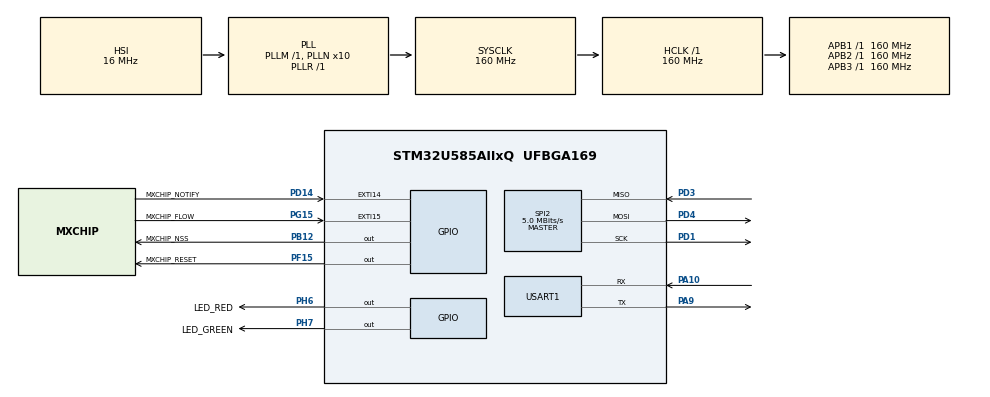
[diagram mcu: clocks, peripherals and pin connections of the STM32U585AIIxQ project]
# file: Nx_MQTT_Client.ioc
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CORTEX_M33_NS.userName=CORTEX_M33
Mcu.Family=STM32U5
Mcu.Name=STM32U585AIIxQ
Mcu.Package=UFBGA169
NETXDUO.NXD_MQTT_REQUIRE_TLS=true
NETXDUO.NX_APP_MEM_POOL_SIZE=100 * 1024
NETXDUO.NX_DHCP_CLIENT_RESTORE_STATE=true
NETXDUO.NX_DRIVER_DEFERRED_PROCESSING=true
NETXDUO.NX_IP_PERIODIC_RATE=1000
NETXDUO.NX_PHYSICAL_HEADER=44
NETXDUO.NX_SECURE_DTLS_MAXIMUM_RETRANSMIT_TIMEOUT=60000
NETXDUO.NX_SECURE_DTLS_RETRANSMIT_TIMEOUT=1000
NETXDUO.NX_SECURE_ENABLE=true
NETXDUO.NX_SECURE_ENABLE_ECC_CIPHERSUITE=true
NETXDUO.NX_SNTP_CLIENT_MAX_ROOT_DISPERSION=500000
NETXDUO.NX_SNTP_CLIENT_MIN_SERVER_STRATUM=5
NVIC.EXTI14_IRQn=true\:5\:0\:true\:false\:true\:false\:false\:true\:true
NVIC.EXTI15_IRQn=true\:5\:0\:true\:false\:true\:false\:false\:true\:true
NVIC.PriorityGroup=NVIC_PRIORITYGROUP_4
NVIC.TIM6_IRQn=true\:15\:0\:true\:false\:true\:false\:false\:true\:true
NVIC.TimeBase=TIM6_IRQn
NVIC.TimeBaseIP=TIM6
NVIC.USART1_IRQn=true\:5\:0\:true\:false\:true\:false\:false\:true\:true
PA10.Mode=Asynchronous
PA10.Signal=USART1_RX
PA9.Mode=Asynchronous
PA9.Signal=USART1_TX
PB12.GPIO_Label=MXCHIP_NSS
PB12.GPIO_Speed=GPIO_SPEED_FREQ_HIGH
PB12.PinState=GPIO_PIN_SET
PB12.Signal=GPIO_Output
PD1.GPIO_Mode=GPIO_MODE_AF_PP
PD1.GPIO_PuPd=GPIO_NOPULL
PD1.GPIO_Speed=GPIO_SPEED_FREQ_LOW
PD1.Mode=Full_Duplex_Master
PD1.Signal=SPI2_SCK
PD14.GPIO_Label=MXCHIP_NOTIFY
PD14.Signal=GPXTI14
PD3.GPIO_Mode=GPIO_MODE_AF_PP
PD3.GPIO_PuPd=GPIO_NOPULL
PD3.GPIO_Speed=GPIO_SPEED_FREQ_LOW
PD3.Mode=Full_Duplex_Master
PD3.Signal=SPI2_MISO
PD4.GPIO_Mode=GPIO_MODE_AF_PP
PD4.GPIO_PuPd=GPIO_NOPULL
PD4.GPIO_Speed=GPIO_SPEED_FREQ_LOW
PD4.Mode=Full_Duplex_Master
PD4.Signal=SPI2_MOSI
PF15.GPIO_Label=MXCHIP_RESET
PF15.GPIO_Speed=GPIO_SPEED_FREQ_HIGH
PF15.Signal=GPIO_Output
PG15.GPIO_Label=MXCHIP_FLOW
PG15.Signal=GPXTI15
PH6.GPIO_Label=LED_RED
PH6.GPIO_Speed=GPIO_SPEED_FREQ_HIGH
PH6.PinState=GPIO_PIN_SET
PH6.Signal=GPIO_Output
PH7.GPIO_Label=LED_GREEN
PH7.GPIO_Speed=GPIO_SPEED_FREQ_HIGH
PH7.PinState=GPIO_PIN_SET
PH7.Signal=GPIO_Output
PWR.PowerMode=PWR_SMPS_SUPPLY
ProjectManager.HeapSize=0x200
ProjectManager.StackSize=0x400
ProjectManager.TargetToolchain=STM32CubeIDE
RCC.ADCFreq_Value=16000000
RCC.AHBFreq_Value=160000000
RCC.APB1Freq_Value=160000000
RCC.APB1TimFreq_Value=160000000
RCC.APB2Freq_Value=160000000
RCC.APB2TimFreq_Value=160000000
RCC.APB3Freq_Value=160000000
RCC.CortexFreq_Value=160000000
RCC.DACCLockSelectionVirtual=RCC_DAC1CLKSOURCE_LSI
RCC.EPOD_VALUE=16000000
RCC.HCLKFreq_Value=160000000
RCC.HSE_VALUE=16000000
RCC.HSI48_VALUE=48000000
RCC.HSI_VALUE=16000000
RCC.LSE_VALUE=32768
RCC.LSIDIV_VALUE=32000
RCC.MSIClockRange=RCC_MSIRANGE_0
RCC.MSI_VALUE=48000000
RCC.PLL1R=1
RCC.PLLN=10
RCC.PLLSourceVirtual=RCC_PLLSOURCE_HSI
RCC.SPI2CLockSelection=RCC_SPI2CLKSOURCE_PCLK1
RCC.SYSCLKFreq_VALUE=160000000
RCC.SYSCLKSource=RCC_SYSCLKSOURCE_PLLCLK
RCC.USBFreq_Value=48000000
RCC.VCOOutputFreq_Value=160000000
SPI2.BaudRatePrescaler=SPI_BAUDRATEPRESCALER_32
SPI2.CalculateBaudRate=5.0 MBits/s
SPI2.DataSize=SPI_DATASIZE_8BIT
SPI2.Direction=SPI_DIRECTION_2LINES
SPI2.Mode=SPI_MODE_MASTER
SPI2.NSSPMode=SPI_NSS_PULSE_DISABLE
SPI2.VirtualType=VM_MASTER
THREADX.AZRTOS_APP_MEM_ALLOCATION_METHOD=1
THREADX.TX_APP_MEM_POOL_SIZE=1024
THREADX.TX_MINIMUM_STACK=400
THREADX.TX_TIMER_TICKS_PER_SECOND=1000
USART1.VirtualMode-Asynchronous=VM_ASYNC
VP_ICACHE_VS_ICACHE.Mode=DirectMappedCache
VP_LPBAMQUEUE_VS_QUEUE.Mode=QUEUEMODE
VP_LPBAM_VS_SIG1.Mode=SmartRun
VP_LPBAM_VS_SIG4.Mode=LPDMA1
VP_NETXDUO_VS_AddonsOoDHCP.Mode=Addons_DHCP_Client
VP_NETXDUO_VS_AddonsOoDNS.Mode=Addons_DNS
VP_NETXDUO_VS_AddonsOoMQTT.Mode=Addons_MQTT
VP_NETXDUO_VS_AddonsOoSNTP.Mode=Addons_SNTP
VP_NETXDUO_VS_Crypto.Mode=Crypto
VP_NETXDUO_VS_NXOoCore.Mode=NX_Core
VP_NETXDUO_VS_TLS.Mode=TLS
VP_PWR_VS_DBSignals.Mode=DisableDeadBatterySignals
VP_PWR_VS_LPOM.Mode=PowerOptimisation
VP_PWR_VS_SECSignals.Mode=Security/Privilege
VP_RNG_VS_RNG.Mode=RNG_Activate
VP_SYS_VS_tim6.Mode=TIM6
VP_THREADX_VS_RTOSJjThreadXJjCoreJjDefault.Mode=Core_Default
board=custom

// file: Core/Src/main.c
/* USER CODE BEGIN Header */
/**
  ******************************************************************************
  * @file           : main.c
  * @brief          : Main program body
  ******************************************************************************
  * @attention
  *
  * Copyright (c) 2021 STMicroelectronics.
  * All rights reserved.
  *
  * This software is licensed under terms that can be found in the LICENSE file
  * in the root directory of this software component.
  * If no LICENSE file comes with this software, it is provided AS-IS.
  *
  ******************************************************************************
  */
/* USER CODE END Header */
#include "app_threadx.h"
#include "main.h"

/* USER CODE BEGIN Includes */
#include "mx_wifi_conf.h"

#if defined(__ICCARM__)
#include <LowLevelIOInterface.h>
#endif /* __ICCARM__ */
/* USER CODE END Includes */

/* USER CODE BEGIN PTD */
#if defined(__ICCARM__)
/* New definition from EWARM V9, compatible with EWARM8 */
int iar_fputc(int ch);
#define PUTCHAR_PROTOTYPE int iar_fputc(int ch)
#elif defined ( __GNUC__) && !defined(__clang__)
/* With GCC, small printf (option LD Linker->Libraries->Small printf
   set to 'Yes') calls __io_putchar() */
#define PUTCHAR_PROTOTYPE int __io_putchar(int ch)
#else
#define PUTCHAR_PROTOTYPE int fputc(int ch, FILE *f)
#endif /* __ICCARM__ */
/* USER CODE END PTD */

RNG_HandleTypeDef hrng;

SPI_HandleTypeDef hspi2;

UART_HandleTypeDef huart1;

void SystemClock_Config(void);
static void SystemPower_Config(void);
static void MX_GPIO_Init(void);
static void MX_ICACHE_Init(void);
static void MX_SPI2_Init(void);
static void MX_USART1_UART_Init(void);
static void MX_RNG_Init(void);

/* USER CODE BEGIN 0 */
void HAL_GPIO_EXTI_Rising_Callback(uint16_t GPIO_Pin)
{
  switch (GPIO_Pin)
  {
    case (GPIO_PIN_1):

      break;
#if MX_WIFI_USE_SPI == 1
    case (MXCHIP_FLOW_Pin):
      mxchip_WIFI_ISR(MXCHIP_FLOW_Pin);
      nx_driver_emw3080_interrupt();
      break;

    case (MXCHIP_NOTIFY_Pin):
      mxchip_WIFI_ISR(MXCHIP_NOTIFY_Pin);
      nx_driver_emw3080_interrupt();
      break;
#endif /* MX_WIFI_USE_SPI */

    default:
      break;
  }
}

void Success_Handler(void)
{
   HAL_GPIO_WritePin(LED_RED_GPIO_Port, LED_RED_Pin, GPIO_PIN_SET);
   while(1)
   {
     HAL_GPIO_TogglePin(LED_GREEN_GPIO_Port, LED_GREEN_Pin);
     tx_thread_sleep(50);
   }
}
/* USER CODE END 0 */

int main(void)
{

  /* MCU Configuration--------------------------------------------------------*/

  /* Reset of all peripherals, Initializes the Flash interface and the Systick. */
  HAL_Init();

  /* Configure the System Power */
  SystemPower_Config();

  /* Configure the system clock */
  SystemClock_Config();

  /* Initialize all configured peripherals */
  MX_GPIO_Init();
  MX_ICACHE_Init();
  MX_SPI2_Init();
  MX_USART1_UART_Init();
  MX_RNG_Init();

  MX_ThreadX_Init();

  /* We should never get here as control is now taken by the scheduler */

  /* Infinite loop */
  while (1)
  {

  }
}

void SystemClock_Config(void)
{
  RCC_OscInitTypeDef RCC_OscInitStruct = {0};
  RCC_ClkInitTypeDef RCC_ClkInitStruct = {0};

  /** Configure the main internal regulator output voltage
  */
  if (HAL_PWREx_ControlVoltageScaling(PWR_REGULATOR_VOLTAGE_SCALE1) != HAL_OK)
  {
    Error_Handler();
  }

  /** Initializes the CPU, AHB and APB buses clocks
  */
  RCC_OscInitStruct.OscillatorType = RCC_OSCILLATORTYPE_HSI48|RCC_OSCILLATORTYPE_HSI;
  RCC_OscInitStruct.HSIState = RCC_HSI_ON;
  RCC_OscInitStruct.HSI48State = RCC_HSI48_ON;
  RCC_OscInitStruct.HSICalibrationValue = RCC_HSICALIBRATION_DEFAULT;
  RCC_OscInitStruct.PLL.PLLState = RCC_PLL_ON;
  RCC_OscInitStruct.PLL.PLLSource = RCC_PLLSOURCE_HSI;
  RCC_OscInitStruct.PLL.PLLMBOOST = RCC_PLLMBOOST_DIV1;
  RCC_OscInitStruct.PLL.PLLM = 1;
  RCC_OscInitStruct.PLL.PLLN = 10;
  RCC_OscInitStruct.PLL.PLLP = 2;
  RCC_OscInitStruct.PLL.PLLQ = 2;
  RCC_OscInitStruct.PLL.PLLR = 1;
  RCC_OscInitStruct.PLL.PLLRGE = RCC_PLLVCIRANGE_1;
  RCC_OscInitStruct.PLL.PLLFRACN = 0;
  if (HAL_RCC_OscConfig(&RCC_OscInitStruct) != HAL_OK)
  {
    Error_Handler();
  }

  /** Initializes the CPU, AHB and APB buses clocks
  */
  RCC_ClkInitStruct.ClockType = RCC_CLOCKTYPE_HCLK|RCC_CLOCKTYPE_SYSCLK
                              |RCC_CLOCKTYPE_PCLK1|RCC_CLOCKTYPE_PCLK2
                              |RCC_CLOCKTYPE_PCLK3;
  RCC_ClkInitStruct.SYSCLKSource = RCC_SYSCLKSOURCE_PLLCLK;
  RCC_ClkInitStruct.AHBCLKDivider = RCC_SYSCLK_DIV1;
  RCC_ClkInitStruct.APB1CLKDivider = RCC_HCLK_DIV1;
  RCC_ClkInitStruct.APB2CLKDivider = RCC_HCLK_DIV1;
  RCC_ClkInitStruct.APB3CLKDivider = RCC_HCLK_DIV1;

  if (HAL_RCC_ClockConfig(&RCC_ClkInitStruct, FLASH_LATENCY_4) != HAL_OK)
  {
    Error_Handler();
  }
}

/**
  * @brief Power Configuration
  * @retval None
  */
static void SystemPower_Config(void)
{
  HAL_PWREx_EnableVddIO2();

  /*
   * Disable the internal Pull-Up in Dead Battery pins of UCPD peripheral
   */
  HAL_PWREx_DisableUCPDDeadBattery();

  /*
   * Switch to SMPS regulator instead of LDO
   */
  if (HAL_PWREx_ConfigSupply(PWR_SMPS_SUPPLY) != HAL_OK)
  {
    Error_Handler();
  }
}

static void MX_ICACHE_Init(void)
{

  /** Enable instruction cache in 1-way (direct mapped cache)
  */
  if (HAL_ICACHE_ConfigAssociativityMode(ICACHE_1WAY) != HAL_OK)
  {
    Error_Handler();
  }
  if (HAL_ICACHE_Enable() != HAL_OK)
  {
    Error_Handler();
  }

}

static void MX_RNG_Init(void)
{

  hrng.Instance = RNG;
  hrng.Init.ClockErrorDetection = RNG_CED_ENABLE;
  if (HAL_RNG_Init(&hrng) != HAL_OK)
  {
    Error_Handler();
  }

}

static void MX_SPI2_Init(void)
{

  SPI_AutonomousModeConfTypeDef HAL_SPI_AutonomousMode_Cfg_Struct = {0};

  /* SPI2 parameter configuration*/
  hspi2.Instance = SPI2;
  hspi2.Init.Mode = SPI_MODE_MASTER;
  hspi2.Init.Direction = SPI_DIRECTION_2LINES;
  hspi2.Init.DataSize = SPI_DATASIZE_8BIT;
  hspi2.Init.CLKPolarity = SPI_POLARITY_LOW;
  hspi2.Init.CLKPhase = SPI_PHASE_1EDGE;
  hspi2.Init.NSS = SPI_NSS_SOFT;
  hspi2.Init.BaudRatePrescaler = SPI_BAUDRATEPRESCALER_32;
  hspi2.Init.FirstBit = SPI_FIRSTBIT_MSB;
  hspi2.Init.TIMode = SPI_TIMODE_DISABLE;
  hspi2.Init.CRCCalculation = SPI_CRCCALCULATION_DISABLE;
  hspi2.Init.CRCPolynomial = 0x7;
  hspi2.Init.NSSPMode = SPI_NSS_PULSE_DISABLE;
  hspi2.Init.NSSPolarity = SPI_NSS_POLARITY_LOW;
  hspi2.Init.FifoThreshold = SPI_FIFO_THRESHOLD_01DATA;
  hspi2.Init.MasterSSIdleness = SPI_MASTER_SS_IDLENESS_00CYCLE;
  hspi2.Init.MasterInterDataIdleness = SPI_MASTER_INTERDATA_IDLENESS_00CYCLE;
  hspi2.Init.MasterReceiverAutoSusp = SPI_MASTER_RX_AUTOSUSP_DISABLE;
  hspi2.Init.MasterKeepIOState = SPI_MASTER_KEEP_IO_STATE_DISABLE;
  hspi2.Init.IOSwap = SPI_IO_SWAP_DISABLE;
  hspi2.Init.ReadyMasterManagement = SPI_RDY_MASTER_MANAGEMENT_INTERNALLY;
  hspi2.Init.ReadyPolarity = SPI_RDY_POLARITY_HIGH;
  if (HAL_SPI_Init(&hspi2) != HAL_OK)
  {
    Error_Handler();
  }
  HAL_SPI_AutonomousMode_Cfg_Struct.TriggerState = SPI_AUTO_MODE_DISABLE;
  HAL_SPI_AutonomousMode_Cfg_Struct.TriggerSelection = SPI_GRP1_GPDMA_CH0_TCF_TRG;
  HAL_SPI_AutonomousMode_Cfg_Struct.TriggerPolarity = SPI_TRIG_POLARITY_RISING;
  if (HAL_SPIEx_SetConfigAutonomousMode(&hspi2, &HAL_SPI_AutonomousMode_Cfg_Struct) != HAL_OK)
  {
    Error_Handler();
  }

}

static void MX_USART1_UART_Init(void)
{

  huart1.Instance = USART1;
  huart1.Init.BaudRate = 115200;
  huart1.Init.WordLength = UART_WORDLENGTH_8B;
  huart1.Init.StopBits = UART_STOPBITS_1;
  huart1.Init.Parity = UART_PARITY_NONE;
  huart1.Init.Mode = UART_MODE_TX_RX;
  huart1.Init.HwFlowCtl = UART_HWCONTROL_NONE;
  huart1.Init.OverSampling = UART_OVERSAMPLING_16;
  huart1.Init.OneBitSampling = UART_ONE_BIT_SAMPLE_DISABLE;
  huart1.Init.ClockPrescaler = UART_PRESCALER_DIV1;
  huart1.AdvancedInit.AdvFeatureInit = UART_ADVFEATURE_NO_INIT;
  if (HAL_UART_Init(&huart1) != HAL_OK)
  {
    Error_Handler();
  }
  if (HAL_UARTEx_SetTxFifoThreshold(&huart1, UART_TXFIFO_THRESHOLD_1_8) != HAL_OK)
  {
    Error_Handler();
  }
  if (HAL_UARTEx_SetRxFifoThreshold(&huart1, UART_RXFIFO_THRESHOLD_1_8) != HAL_OK)
  {
    Error_Handler();
  }
  if (HAL_UARTEx_DisableFifoMode(&huart1) != HAL_OK)
  {
    Error_Handler();
  }

}

static void MX_GPIO_Init(void)
{
  GPIO_InitTypeDef GPIO_InitStruct = {0};

  /* GPIO Ports Clock Enable */
  __HAL_RCC_GPIOG_CLK_ENABLE();
  __HAL_RCC_GPIOD_CLK_ENABLE();
  __HAL_RCC_GPIOH_CLK_ENABLE();
  __HAL_RCC_GPIOA_CLK_ENABLE();
  __HAL_RCC_GPIOB_CLK_ENABLE();
  __HAL_RCC_GPIOF_CLK_ENABLE();

  /*Configure GPIO pin Output Level */
  HAL_GPIO_WritePin(GPIOH, LED_RED_Pin|LED_GREEN_Pin, GPIO_PIN_SET);

  /*Configure GPIO pin Output Level */
  HAL_GPIO_WritePin(MXCHIP_NSS_GPIO_Port, MXCHIP_NSS_Pin, GPIO_PIN_SET);

  /*Configure GPIO pin Output Level */
  HAL_GPIO_WritePin(MXCHIP_RESET_GPIO_Port, MXCHIP_RESET_Pin, GPIO_PIN_RESET);

  /*Configure GPIO pin : MXCHIP_FLOW_Pin */
  GPIO_InitStruct.Pin = MXCHIP_FLOW_Pin;
  GPIO_InitStruct.Mode = GPIO_MODE_IT_RISING;
  GPIO_InitStruct.Pull = GPIO_NOPULL;
  HAL_GPIO_Init(MXCHIP_FLOW_GPIO_Port, &GPIO_InitStruct);

  /*Configure GPIO pins : LED_RED_Pin LED_GREEN_Pin */
  GPIO_InitStruct.Pin = LED_RED_Pin|LED_GREEN_Pin;
  GPIO_InitStruct.Mode = GPIO_MODE_OUTPUT_PP;
  GPIO_InitStruct.Pull = GPIO_NOPULL;
  GPIO_InitStruct.Speed = GPIO_SPEED_FREQ_HIGH;
  HAL_GPIO_Init(GPIOH, &GPIO_InitStruct);

  /*Configure GPIO pin : MXCHIP_NOTIFY_Pin */
  GPIO_InitStruct.Pin = MXCHIP_NOTIFY_Pin;
  GPIO_InitStruct.Mode = GPIO_MODE_IT_RISING;
  GPIO_InitStruct.Pull = GPIO_NOPULL;
  HAL_GPIO_Init(MXCHIP_NOTIFY_GPIO_Port, &GPIO_InitStruct);

  /*Configure GPIO pin : MXCHIP_NSS_Pin */
  GPIO_InitStruct.Pin = MXCHIP_NSS_Pin;
  GPIO_InitStruct.Mode = GPIO_MODE_OUTPUT_PP;
  GPIO_InitStruct.Pull = GPIO_NOPULL;
  GPIO_InitStruct.Speed = GPIO_SPEED_FREQ_HIGH;
  HAL_GPIO_Init(MXCHIP_NSS_GPIO_Port, &GPIO_InitStruct);

  /*Configure GPIO pin : MXCHIP_RESET_Pin */
  GPIO_InitStruct.Pin = MXCHIP_RESET_Pin;
  GPIO_InitStruct.Mode = GPIO_MODE_OUTPUT_PP;
  GPIO_InitStruct.Pull = GPIO_NOPULL;
  GPIO_InitStruct.Speed = GPIO_SPEED_FREQ_HIGH;
  HAL_GPIO_Init(MXCHIP_RESET_GPIO_Port, &GPIO_InitStruct);

  /* EXTI interrupt init*/
  HAL_NVIC_SetPriority(EXTI14_IRQn, 5, 0);
  HAL_NVIC_EnableIRQ(EXTI14_IRQn);

  HAL_NVIC_SetPriority(EXTI15_IRQn, 5, 0);
  HAL_NVIC_EnableIRQ(EXTI15_IRQn);

}

/* USER CODE BEGIN 4 */
/**
  * @brief  Retargets the C library __write function to the IAR function iar_fputc.
  * @param  file: file descriptor.
  * @param  ptr: pointer to the buffer where the data is stored.
  * @param  len: length of the data to write in bytes.
  * @retval length of the written data in bytes.
  */
#if defined(__ICCARM__)
size_t __write(int file, unsigned char const *ptr, size_t len)
{
  size_t idx;
  unsigned char const *pdata = ptr;

  for (idx = 0; idx < len; idx++)
  {
    iar_fputc((int)*pdata);
    pdata++;
  }
  return len;
}
#endif /* __ICCARM__ */

/**
  * @brief  Retargets the C library printf function to the USART.
  */
PUTCHAR_PROTOTYPE
{
  /* Place your implementation of fputc here */
  /* e.g. write a character to the USART1 and Loop until the end of transmission */
  HAL_UART_Transmit(&huart1, (uint8_t *)&ch, 1, 0xFFFF);

  return ch;
}
/* USER CODE END 4 */

void HAL_TIM_PeriodElapsedCallback(TIM_HandleTypeDef *htim)
{
  if (htim->Instance == TIM6)
  {
    HAL_IncTick();
  }
}

void Error_Handler(void)
{
  /* USER CODE BEGIN Error_Handler_Debug */
  /* User can add his own implementation to report the HAL error return state */
   HAL_GPIO_WritePin(LED_GREEN_GPIO_Port, LED_GREEN_Pin, GPIO_PIN_SET);
   while(1)
   {
     HAL_GPIO_TogglePin(LED_RED_GPIO_Port, LED_RED_Pin);
     tx_thread_sleep(20);
   }
  /* USER CODE END Error_Handler_Debug */
}
